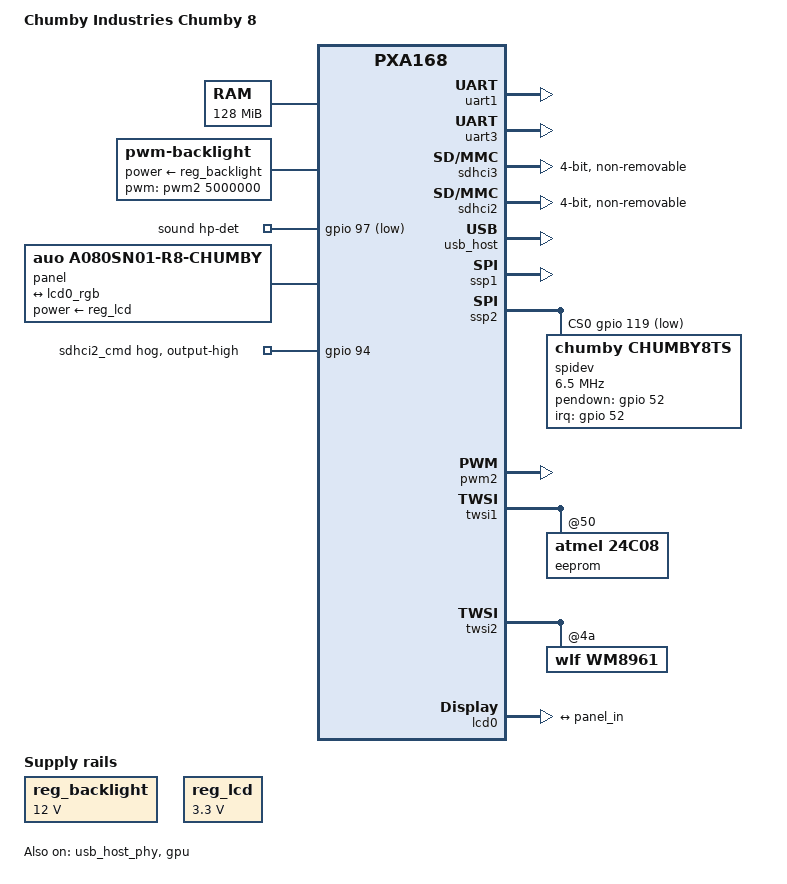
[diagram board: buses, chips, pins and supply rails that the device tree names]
// SPDX-License-Identifier: GPL-2.0-only
/*
 *  Copyright (C) 2012 Marvell Technology Group Ltd.
 *  Author: Haojian Zhuang <haojian.zhuang@marvell.com>
 */

/dts-v1/;
#include "pxa168.dtsi"
#include <dt-bindings/gpio/gpio.h>
#include <dt-bindings/interrupt-controller/irq.h>

/ {
	model = "Chumby Industries Chumby 8";
	compatible = "chumby,chumby8", "mrvl,pxa168-aspenite", "mrvl,pxa168";

	chosen {
		#address-cells = <1>;
		#size-cells = <1>;
		ranges;

		bootargs = "console=ttyS0,115200 root=/dev/nfs nfsroot=192.168.1.100:/nfsroot/ ip=192.168.1.101:192.168.1.100::255.255.255.0::eth0:on";
	};

	aliases {
		mmc0 = &sdhci3;
		mmc1 = &sdhci2;
	};

	memory {
		reg = <0x00000000 0x08000000>;
	};

	reserved-memory {
		#address-cells = <1>;
		#size-cells = <1>;
		ranges;

		/* Reserved memory for display. This also includes the startup framebuffer */
		framebuffer@6000000 {
			compatible = "marvell,armada-framebuffer";
			reg = <0x06000000 0x01000000>;
			no-map;
		};
	};

	soc {
		apb@d4000000 {
			/* Note: Mapped to same address as UART3 */
			reset: reset@d4026000 {
				compatible = "chumby,chumby8-reboot-controller";
				reg = <0xd4026000 0x1000>;
				clocks = <&soc_clocks PXA168_CLK_UART2>;
				resets = <&soc_clocks PXA168_CLK_UART2>;
				status = "okay";
			};
		};
	};

	reg_backlight: regulator-backlight {
		compatible = "regulator-fixed";
		regulator-name = "backlight-fixed-supply";
		regulator-min-microvolt = <12000000>;
		regulator-max-microvolt = <12000000>;
		regulator-always-on;
	};

	backlight: backlight {
		compatible = "pwm-backlight";
		pinctrl-names = "default";
		pinctrl-0 = <&pwm2_pins_default>;
		/* 5,000,000 nanoseconds = 200 hz */
		pwms = <&pwm2 5000000>;
		power-supply = <&reg_backlight>;
		status = "okay";

		brightness-levels = <0 4 8 16 32 48 64 96 128 192 255>;
		default-brightness-level = <5>;
	};

	ssp_dai0: ssp-dai0 {
		compatible = "mrvl,pxa168-ssp-dai";
		pinctrl-names = "default";
		pinctrl-0 = <&ssp1_pins_default>;
		port = <&ssp1>;
		#sound-dai-cells = <0>;
		dmas = <&dma 52 2
			&dma 53 2>;
		dma-names = "rx", "tx";
	};

	sound {
		compatible = "simple-audio-card";
		simple-audio-card,name = "Chumby Speaker";
		simple-audio-card,widgets =
			"Microphone", "Internal Mic",
			"Headphone", "Headphones",
			"Speaker", "Speaker";
		simple-audio-card,routing =
			"LINPUT", "Internal Mic",
			"LINPUT", "MICBIAS",
			"Headphones", "HP_L",
			"Headphones", "HP_R",
			"Speaker", "SPK_LN",
			"Speaker", "SPK_LP",
			"Speaker", "SPK_RN",
			"Speaker", "SPK_RP";
		simple-audio-card,hp-det-gpio = <&gpio 97 GPIO_ACTIVE_LOW>;
		#address-cells = <1>;
		#size-cells = <0>;

		simple-audio-card,dai-link@0 {
			reg = <0>;
			format = "left_j";
			bitclock-master = <&dailink_master_analog>;
			frame-master = <&dailink_master_analog>;
			mclk-fs = <256>;

			dailink_master_analog: cpu {
				sound-dai = <&ssp_dai0>;
			};

			codec {
				sound-dai = <&wm8961>;
			};
		};
	};

	reg_lcd: regulator-lcd {
		compatible = "regulator-fixed";
		regulator-name = "LCD_VCC";
		regulator-min-microvolt = <3300000>;
		regulator-max-microvolt = <3300000>;
		regulator-always-on;
		regulator-boot-on;
	};

	panel: panel {
		compatible = "auo,a080sn01-r8-chumby";
		/*TODO: Figure out why uncommenting this line results in a black screen
		 *at startup*/
		/*backlight = <&backlight>;*/
		power-supply = <&reg_lcd>;

		port {
			panel_in: endpoint {
				remote-endpoint = <&lcd0_rgb>;
			};
		};
	};
};

&dma {
	status = "okay";
};

&uart1 {
	status = "okay";
};

&uart3 {
	status = "okay";
};

&sdhci3 {
	non-removable;
	no-1-8-v;
	bus-width = <4>;
	max-frequency = <24000000>;
	cap-sd-highspeed;
	status = "okay";
};

&sdhci2 {
	pinctrl-names = "default", "state_cmd_gpio";
	pinctrl-0 = <&sdhci2_pins_default>;
	pinctrl-1 = <&sdhci2_pins_cmd_gpio>;
	non-removable;
	no-1-8-v;
	bus-width = <4>;
	max-frequency = <24000000>;
	cap-sd-highspeed;
	status = "okay";
};

&usb_host_phy {
	status = "okay";
};

&usb_host {
	status = "okay";
};

&pinctrl {
	/* Pin config for default SDHCI state (GPIO94 = SDIO CMD) */
	sdhci2_pins_default: sdhci2cmd_default {
		pinctrl-single,pins = <
			MFP_PIN_PXA168(94) MFP_AF1
		>;
	};

	/* Pin config for card IRQ fix state (GPIO94 = high GPIO output) */
	sdhci2_pins_cmd_gpio: sdhci2cmd_gpio {
		pinctrl-single,pins = <
			MFP_PIN_PXA168(94) MFP_AF0
		>;
	};

	/* Pin config for SSP2 -- touchscreen. Leave CS as normal GPIO so we have
	 * finer control over its timing, at the expense of efficiency. */
	ssp2_pins_default: ssp2default {
		pinctrl-single,pins = <
			MFP_PIN_PXA168(118) MFP_AF1
			MFP_PIN_PXA168(120) MFP_AF1
			MFP_PIN_PXA168(121) MFP_AF1
			MFP_PIN_PXA168(119) MFP_AF0
		>;
	};

	pwm2_pins_default: pwm2default {
		pinctrl-single,pins = <
			MFP_PIN_PXA168(84) MFP_AF2
		>;
	};

	/* Pin config for SSP1 -- audio interface */
	ssp1_pins_default: ssp1default {
		pinctrl-single,pins = <
			MFP_PIN_PXA168(113) MFP_AF6
			MFP_PIN_PXA168(114) MFP_AF1
			MFP_PIN_PXA168(115) MFP_AF1
			MFP_PIN_PXA168(116) MFP_AF2
			MFP_PIN_PXA168(117) MFP_AF2
		>;
	};
};

&ssp1 {
	status = "okay";
	/* In order to use with generic I/O core instead of SPI */
	compatible = "mvrl,pxa168-ssp";
	dmas = <&dma 52 2
		&dma 53 2>;
};

&ssp2 {
	status = "okay";
	pinctrl-names = "default";
	pinctrl-0 = <&ssp2_pins_default>;
	cs-gpios = <&gpio 119 GPIO_ACTIVE_LOW>;

	spidev@0 {
		compatible = "chumby,chumby8ts";
		reg = <0>;
		spi-max-frequency = <6500000>;
		pendown-gpio = <&gpio 52 GPIO_ACTIVE_HIGH>;
		interrupt-parent = <&gpio>;
		interrupts = <52 IRQ_TYPE_EDGE_RISING>;
		touchscreen-inverted-y;
		touchscreen-swapped-x-y;
	};
};

&pwm2 {
	status = "okay";
};

&twsi1 {
	status = "okay";
	clock-frequency = <100000>;

	eeprom@50 {
		compatible = "atmel,24c08";
		reg = <0x50>;
	};
};

&twsi2 {
	status = "okay";
	clock-frequency = <100000>;

	wm8961: codec@4a {
		compatible = "wlf,wm8961";
		#sound-dai-cells = <0>;
		reg = <0x4a>;
	};
};

&gpio {
	sdhci2_cmd_gpio {
		gpio-hog;
		gpios = <94 GPIO_ACTIVE_HIGH>;
		output-high;
		line-name = "sdhci2_cmd";
	};
};

&lcd0 {
	status = "okay";
	preserve-startup-fb;
	output-format = "rgb666_17:0";
	io-pin-allocation = "dumb_18_gpio";
	lcd0_port: port {
		lcd0_rgb: endpoint {
			remote-endpoint = <&panel_in>;
		};
	};
};

&gpu {
	status = "okay";
};
